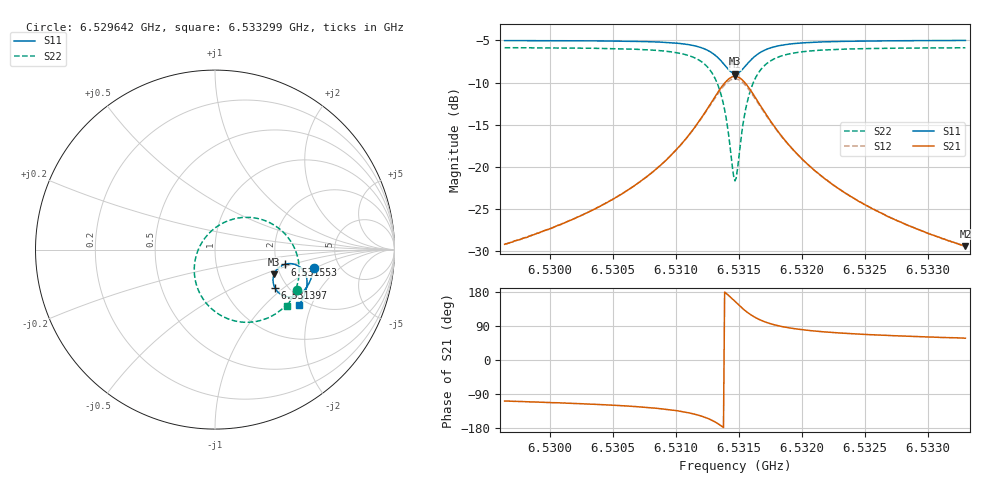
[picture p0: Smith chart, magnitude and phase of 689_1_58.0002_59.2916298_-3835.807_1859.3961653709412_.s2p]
#  HZ  S  RI  R  50.00
! Rohde & Schwarz Vector Network Analyzer
! Rohde-Schwarz,ZNB20-2Port,1311601062101988,3.16
! Created: UTC 3/21/2024, 1:21:11 AM
! freq[Hz]  re:S11  im:S11  re:S21  im:S21  re:S12  im:S12  re:S22  im:S22
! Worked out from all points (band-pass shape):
!   401 points, 6.529642 GHz to 6.533299 GHz, reference 50 ohm
!   highest |S21| = -9.26 dB at 6.53147 GHz (marker M1); lowest = -29.4 dB at 6.533299 GHz (marker M2)
!   |S21| within 3 dB of the highest: 6.531287 GHz to 6.531653 GHz (366 kHz wide, 0.0056 % of centre)
!   lowest |S11| = -8.9 dB at 6.53147 GHz (marker M3), VSWR 2.11, Z = 93 - j29.5 ohm
!   |S11| at or under -10 dB: nowhere
!   |S22| runs from -21.6 to -5.9 dB; largest |S21 - S12| = 0.015
!   S11 on the Smith chart (normalised r, x): 6.529642 GHz: 3.23, -0.97; 6.531397 GHz: 1.72, -0.86; 6.531553 GHz: 2.21, -0.43; 6.533299 GHz: 1.83, -1.64
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6.5296416e9  0.5507 -0.1034  -0.011 -0.0331  -0.0117 -0.033  0.4574 -0.2228
6.5302543e9  0.5371 -0.1554  -0.0223 -0.0469  -0.0235 -0.0463  0.4208 -0.2812
6.5305743e9  0.5245 -0.1862  -0.0354 -0.0598  -0.0373 -0.0588  0.386 -0.3197
6.5308669e9  0.504 -0.2194  -0.062 -0.0791  -0.0644 -0.0772  0.3265 -0.3647
6.5310864e9  0.4709 -0.249  -0.111 -0.0991  -0.1141 -0.0949  0.2285 -0.4004
6.5312419e9  0.4193 -0.2641  -0.1916 -0.0996  -0.1934 -0.091  0.0832 -0.3894
6.5313333e9  0.3684 -0.2502  -0.2699 -0.059  -0.2669 -0.0471  -0.0433 -0.3052
6.5313699e9  0.3466 -0.2318  -0.3014 -0.0212  -0.2949 -0.00915  -0.0886 -0.2353
6.5313973e9  0.333 -0.2116  -0.3195 0.0177  -0.3102 0.0285  -0.1106 -0.167
6.5314522e9  0.3244 -0.1573  -0.3228 0.1149  -0.3091 0.1202  -0.0962 -0.00728
6.5314705e9  0.3292 -0.1385  -0.311 0.1479  -0.2971 0.1506  -0.0704 0.0436
6.5314888e9  0.3378 -0.1209  -0.2927 0.1778  -0.2793 0.1781  -0.0353 0.0888
6.5315253e9  0.364 -0.0938  -0.243 0.2225  -0.2323 0.2193  0.0537 0.1527
6.5315528e9  0.3874 -0.0825  -0.201 0.2409  -0.1925 0.2363  0.126 0.1754
6.5315894e9  0.4178 -0.0779  -0.148 0.2477  -0.1422 0.2429  0.2154 0.1772
6.5316259e9  0.4437 -0.082  -0.1034 0.2407  -0.0998 0.2366  0.2885 0.1574
6.5317357e9  0.4899 -0.1132  -0.0253 0.1937  -0.0239 0.1917  0.4127 0.0597
6.5318728e9  0.509 -0.151  0.00908 0.1419  0.0102 0.1413  0.4606 -0.0425
6.5320831e9  0.5129 -0.1917  0.0221 0.0958  0.0233 0.0953  0.4685 -0.1369
6.5323392e9  0.5071 -0.2255  0.0235 0.0666  0.0246 0.0663  0.4567 -0.2017
6.5326958e9  0.4946 -0.2605  0.0216 0.0455  0.0226 0.0453  0.4351 -0.2561
6.5332994e9  0.4703 -0.3072  0.0182 0.0288  0.0188 0.0283  0.4001 -0.3136
